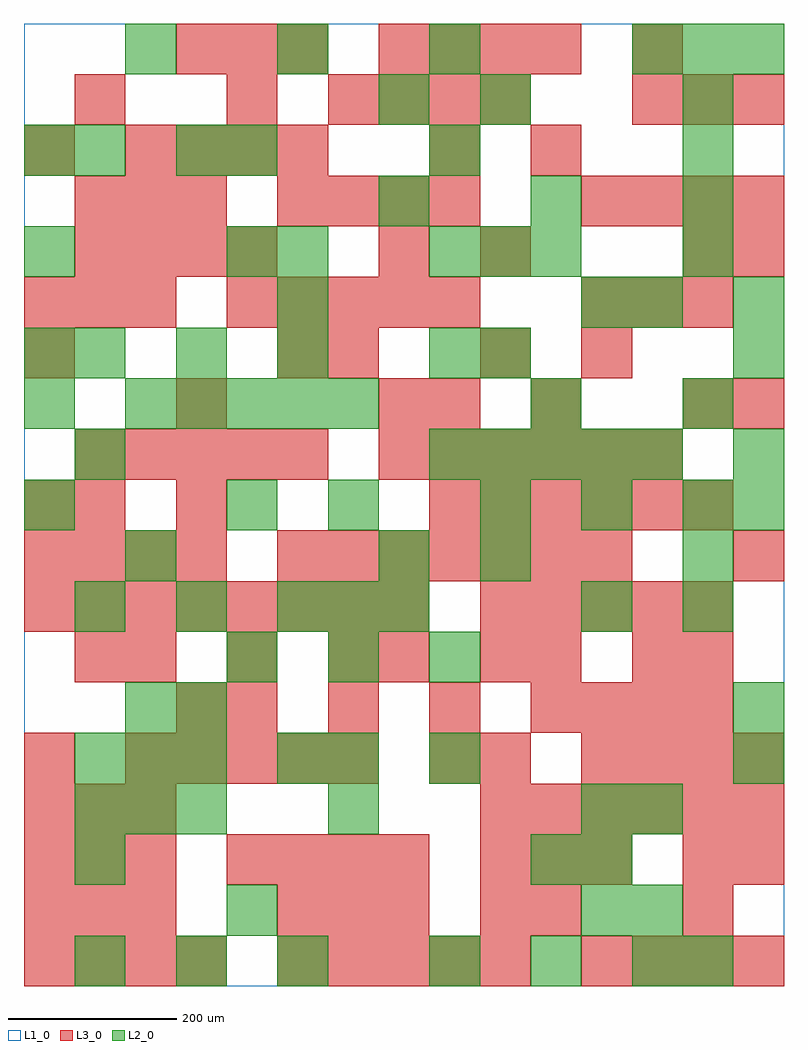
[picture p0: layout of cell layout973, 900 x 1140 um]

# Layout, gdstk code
import gdstk
lib = gdstk.Library(unit=1e-6, precision=1e-09)
def R(c, l, rs):  # rectangles x0, y0, x1, y1
    for r in rs: c.add(gdstk.rectangle(r[:2], r[2:], *l))
def A(c, l, x, y, w, h, nx, ny, dx, dy):  # array of equal rectangles
    R(c, l, [(x+i*dx, y+j*dy, x+i*dx+w, y+j*dy+h) for i in range(nx) for j in range(ny)])
L1_0 = (1, 0)
L2_0 = (2, 0)
L3_0 = (3, 0)

layout973 = lib.new_cell('layout973')
R(layout973, L1_0, [(0,0,900,1140)])
A(layout973, L2_0, 60, 0, 60, 60, 3, 2, 120, 420)
A(layout973, L2_0, 480, 0, 60, 60, 3, 1, 120, 0)
A(layout973, L2_0, 660, 60, 60, 60, 1, 3, 0, 60)
A(layout973, L2_0, 60, 180, 60, 60, 3, 2, 60, 60)
A(layout973, L2_0, 240, 360, 60, 60, 3, 1, 120, 0)
A(layout973, L2_0, 780, 480, 60, 60, 1, 3, 0, 180)
A(layout973, L2_0, 540, 540, 60, 60, 3, 1, 120, 0)
A(layout973, L2_0, 480, 600, 60, 60, 5, 1, 60, 0)
A(layout973, L2_0, 120, 660, 60, 60, 5, 1, 60, 0)
A(layout973, L2_0, 0, 720, 60, 60, 1, 3, 0, 120)
A(layout973, L2_0, 60, 720, 60, 60, 3, 1, 120, 0)
A(layout973, L2_0, 480, 840, 60, 60, 3, 1, 60, 0)
A(layout973, L2_0, 420, 900, 60, 60, 3, 1, 180, 0)
A(layout973, L2_0, 120, 1080, 60, 60, 3, 1, 180, 0)
A(layout973, L2_0, 720, 1080, 60, 60, 3, 1, 60, 0)
R(layout973, L2_0, [(780,0,840,60), (240,60,300,120), (720,60,780,120), (60,120,120,180), (600,120,660,180), (360,180,420,240), (720,180,780,240), (300,240,360,300), (360,240,420,300), (480,240,540,300), (840,240,900,300), (120,300,180,360), (180,300,240,360), (840,300,900,360), (360,420,420,480), (420,420,480,480), (660,420,720,480), (780,420,840,480), (120,480,180,540), (420,480,480,540), (540,480,600,540), (0,540,60,600), (240,540,300,600), (360,540,420,600), (840,540,900,600), (60,600,120,660), (840,600,900,660), (0,660,60,720), (600,660,660,720), (480,720,540,780), (540,720,600,780), (840,720,900,780), (300,780,360,840), (660,780,720,840), (720,780,780,840), (840,780,900,840), (240,840,300,900), (300,840,360,900), (60,960,120,1020), (180,960,240,1020), (240,960,300,1020), (480,960,540,1020), (780,960,840,1020), (420,1020,480,1080), (540,1020,600,1080), (780,1020,840,1080)])
A(layout973, L3_0, 0, 0, 60, 60, 4, 2, 60, 480)
A(layout973, L3_0, 300, 0, 60, 60, 5, 1, 60, 0)
A(layout973, L3_0, 660, 0, 60, 60, 4, 2, 60, 240)
A(layout973, L3_0, 0, 60, 60, 60, 3, 3, 60, 60)
A(layout973, L3_0, 300, 60, 60, 60, 3, 1, 60, 0)
A(layout973, L3_0, 600, 60, 60, 60, 1, 4, 0, 300)
A(layout973, L3_0, 240, 120, 60, 60, 4, 1, 60, 0)
A(layout973, L3_0, 540, 120, 60, 60, 3, 1, 60, 0)
A(layout973, L3_0, 540, 180, 60, 60, 6, 1, 60, 0)
A(layout973, L3_0, 120, 240, 60, 60, 5, 1, 60, 0)
A(layout973, L3_0, 240, 300, 60, 60, 4, 1, 120, 0)
A(layout973, L3_0, 660, 300, 60, 60, 3, 2, 60, 480)
A(layout973, L3_0, 120, 360, 60, 60, 3, 1, 120, 0)
A(layout973, L3_0, 0, 420, 60, 60, 8, 1, 60, 0)
A(layout973, L3_0, 540, 420, 60, 60, 5, 1, 60, 0)
A(layout973, L3_0, 300, 480, 60, 60, 7, 1, 60, 0)
A(layout973, L3_0, 840, 480, 60, 60, 1, 3, 0, 180)
A(layout973, L3_0, 480, 540, 60, 60, 6, 1, 60, 0)
A(layout973, L3_0, 60, 600, 60, 60, 5, 1, 60, 0)
A(layout973, L3_0, 420, 600, 60, 60, 6, 1, 60, 0)
A(layout973, L3_0, 0, 780, 60, 60, 3, 1, 60, 0)
A(layout973, L3_0, 240, 780, 60, 60, 5, 1, 60, 0)
A(layout973, L3_0, 60, 840, 60, 60, 4, 1, 60, 0)
A(layout973, L3_0, 60, 900, 60, 60, 3, 1, 60, 0)
A(layout973, L3_0, 300, 900, 60, 60, 4, 1, 60, 0)
A(layout973, L3_0, 660, 900, 60, 60, 4, 1, 60, 0)
A(layout973, L3_0, 120, 960, 60, 60, 4, 1, 60, 0)
A(layout973, L3_0, 360, 1020, 60, 60, 4, 1, 60, 0)
A(layout973, L3_0, 720, 1020, 60, 60, 3, 1, 60, 0)
A(layout973, L3_0, 180, 1080, 60, 60, 3, 1, 60, 0)
A(layout973, L3_0, 420, 1080, 60, 60, 4, 1, 60, 0)
R(layout973, L3_0, [(540,60,600,120), (780,60,840,120), (780,120,840,180), (840,120,900,180), (0,240,60,300), (480,240,540,300), (540,240,600,300), (180,300,240,360), (60,360,120,420), (420,360,480,420), (540,360,600,420), (720,360,780,420), (780,360,840,420), (0,540,60,600), (60,540,120,600), (180,540,240,600), (180,660,240,720), (420,660,480,720), (480,660,540,720), (780,660,840,720), (0,720,60,780), (300,720,360,780), (360,720,420,780), (540,720,600,780), (660,720,720,780), (420,840,480,900), (540,840,600,900), (780,840,840,900), (0,960,60,1020), (480,960,540,1020), (60,1020,120,1080), (240,1020,300,1080), (720,1080,780,1140)])

lib.write_gds('layout973.gds')
